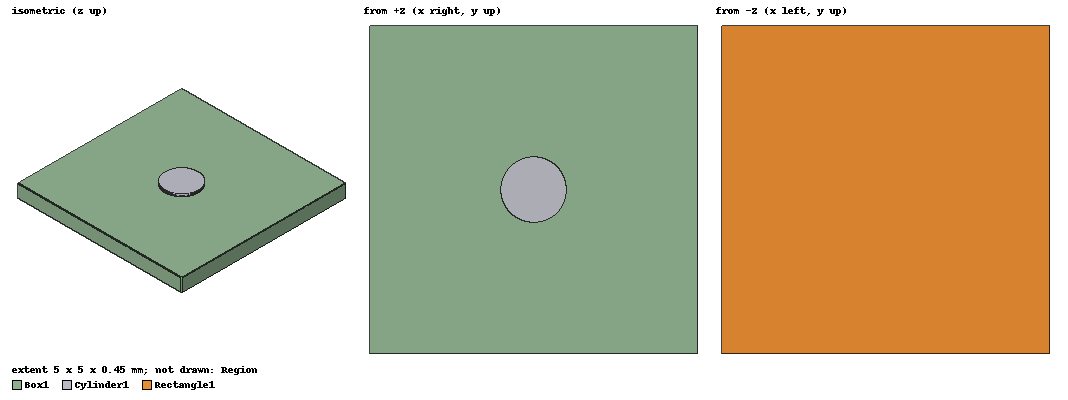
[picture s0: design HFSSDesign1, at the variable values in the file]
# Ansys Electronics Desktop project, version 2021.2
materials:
  vacuum: permittivity=1
  pec: conductivity=1e+30
  Rogers RT/duroid 5880 (tm): permittivity=2.2 dielectric_loss_tangent=0.0009

design HFSSDesign1 (HFSS, DrivenModal, model units mm)
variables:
  Xsize = 5mm
  Ysize = 5mm
  H = 0.4mm
  margin = 2mm
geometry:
  Rectangle1 = rectangle(corner=(0mm, 0mm, 0mm), x_size=Xsize, y_size=Ysize)
  Box1 [Rogers RT/duroid 5880 (tm)] = box(corner=(0mm, 0mm, 0mm), size=(Xsize, Ysize, H))
  Cylinder1 [pec] = cylinder(axis=Z, base_centre=(Xsize/2, Ysize/2, H), radius=Xsize/2 - margin, height=0.05mm)
  Region [vacuum] = region(absolute_offset: +X=0mm, -X=0mm, +Y=0mm, -Y=0mm, +Z=10mm, -Z=10mm)
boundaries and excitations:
  PerfE1: Perfect E Objects=Rectangle1
  Primary1: Primary Faces=Region.face(+y) CoordSysVector{Region.vertex(2 of 8) -> Region.vertex(3 of 8)}
  Secondary1: Secondary Faces=Region.face(+x) CoordSysVector{Region.vertex(2 of 8) -> Region.vertex(1 of 8)} ReverseV primary=Primary1 PhaseDelay=UseScanAngle Phi=0deg Theta=0deg
  Primary2: Primary Faces=Region.face(-y) CoordSysVector{Region.vertex(1 of 8) -> Region.vertex(4 of 8)} ReverseV
  Secondary2: Secondary Faces=Region.face(-x) CoordSysVector{Region.vertex(4 of 8) -> Region.vertex(3 of 8)} ReverseV primary=Primary2 PhaseDelay=UseScanAngle Phi=0deg Theta=0deg
  FloquetPort1: Floquet Port Faces=Region.face(+z) NumModes=4 Modes{Mode1{CharImp=Zpi} Mode2{CharImp=Zpi} Mode3{CharImp=Zpi} Mode4{CharImp=Zpi}} PhaseDelay=UseScanAngle Phi=0deg Theta=0deg LatticeAVector{Region.vertex(4 of 8) -> Region.vertex(1 of 8)} LatticeBVector{Region.vertex(4 of 8) -> Region.vertex(3 of 8)} ModesList{Mode{ModeNumber=1 IndexM=1 IndexN=0 KC2=0 PropagationState=Propagating Attenuation=0 PolarizationState=TE AffectsRefinement} Mode{ModeNumber=2 IndexM=1 IndexN=1 KC2=0 PropagationState=Propagating Attenuation=0 PolarizationState=TM AffectsRefinement} Mode{ModeNumber=3 IndexM=2 IndexN=0 KC2=0 PropagationState=Propagating Attenuation=0 PolarizationState=TE AffectsRefinement} Mode{ModeNumber=4 IndexM=0 IndexN=1 KC2=0 PropagationState=Propagating Attenuation=0 PolarizationState=TE AffectsRefinement}}
  FloquetPort2: Floquet Port Faces=Region.face(-z) NumModes=4 Modes{Mode1{CharImp=Zpi} Mode2{CharImp=Zpi} Mode3{CharImp=Zpi} Mode4{CharImp=Zpi}} PhaseDelay=UseScanAngle Phi=0deg Theta=0deg LatticeAVector{Region.vertex(7 of 8) -> Region.vertex(6 of 8)} LatticeBVector{Region.vertex(7 of 8) -> Region.vertex(8 of 8)} ModesList{Mode{ModeNumber=1 IndexM=1 IndexN=0 KC2=0 PropagationState=Propagating Attenuation=0 PolarizationState=TE AffectsRefinement} Mode{ModeNumber=2 IndexM=1 IndexN=1 KC2=0 PropagationState=Propagating Attenuation=0 PolarizationState=TM AffectsRefinement} Mode{ModeNumber=3 IndexM=2 IndexN=0 KC2=0 PropagationState=Propagating Attenuation=0 PolarizationState=TE AffectsRefinement} Mode{ModeNumber=4 IndexM=0 IndexN=1 KC2=0 PropagationState=Propagating Attenuation=0 PolarizationState=TE AffectsRefinement}}
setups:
  Setup1: HfssDriven Frequency=60GHz MaxDeltaS=0.02 MaximumPasses=10 MinimumPasses=1 MinimumConvergedPasses=1 PercentRefinement=30 BasisOrder=1 PortAccuracy=2
    sweep Sweep: 30GHz to 90GHz step 0.1GHz; Type=Interpolating InterpTolerance=0.5 InterpMaxSolns=250 InterpUsePortImped=false PassivityErrorTolerance=0.0001
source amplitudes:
  FloquetPort1:1: 1W 0deg
  FloquetPort1:2, FloquetPort1:3, FloquetPort1:4, FloquetPort2:1..FloquetPort2:4: 0W 0deg
